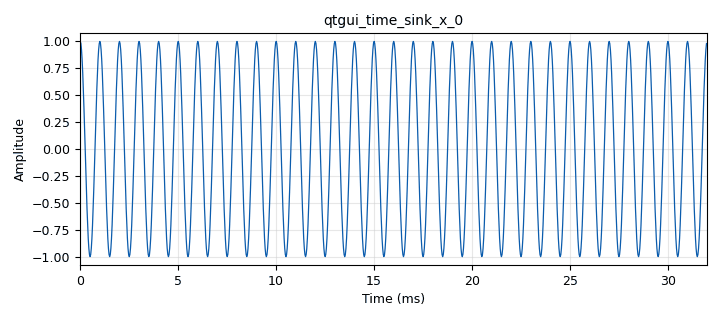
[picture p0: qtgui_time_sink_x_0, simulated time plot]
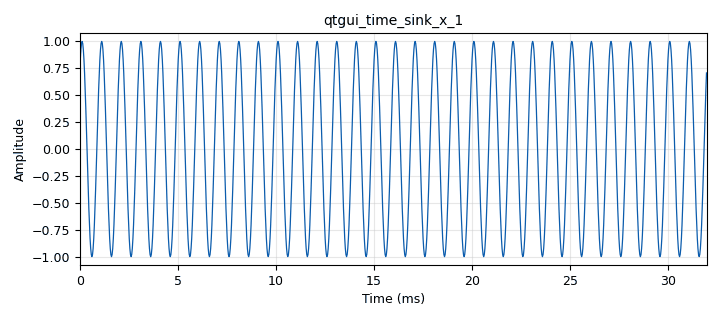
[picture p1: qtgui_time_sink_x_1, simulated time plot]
options:
  parameters:
    generate_options: qt_gui
    id: delay
    output_language: python
    title: Not titled yet
  states: {}

blocks:
- name: samp_rate
  id: variable
  parameters:
    value: '32000'
  states: {}
- name: v
  id: variable_qtgui_range
  parameters:
    start: '1'
    step: '1'
    stop: '10'
    value: '3'
  states: {}
- name: analog_sig_source_x_0
  id: analog_sig_source_x
  parameters:
    amp: '1'
    freq: '1000'
    offset: '0'
    phase: '0'
    samp_rate: samp_rate
    type: float
    waveform: analog.GR_COS_WAVE
  states: {}
- name: blocks_delay_0
  id: blocks_delay
  parameters:
    delay: v
    type: float
  states: {}
- name: blocks_throttle_0
  id: blocks_throttle
  parameters:
    samples_per_second: samp_rate
    type: float
  states: {}
- name: qtgui_time_sink_x_0
  id: qtgui_time_sink_x
  parameters:
    size: '1024'
    srate: samp_rate
    type: float
  states: {}
- name: qtgui_time_sink_x_1
  id: qtgui_time_sink_x
  parameters:
    size: '1024'
    srate: samp_rate
    type: float
  states: {}

connections:
- [analog_sig_source_x_0, '0', blocks_throttle_0, '0']
- [blocks_delay_0, '0', qtgui_time_sink_x_1, '0']
- [blocks_throttle_0, '0', blocks_delay_0, '0']
- [blocks_throttle_0, '0', qtgui_time_sink_x_0, '0']

metadata:
  file_format: 1
